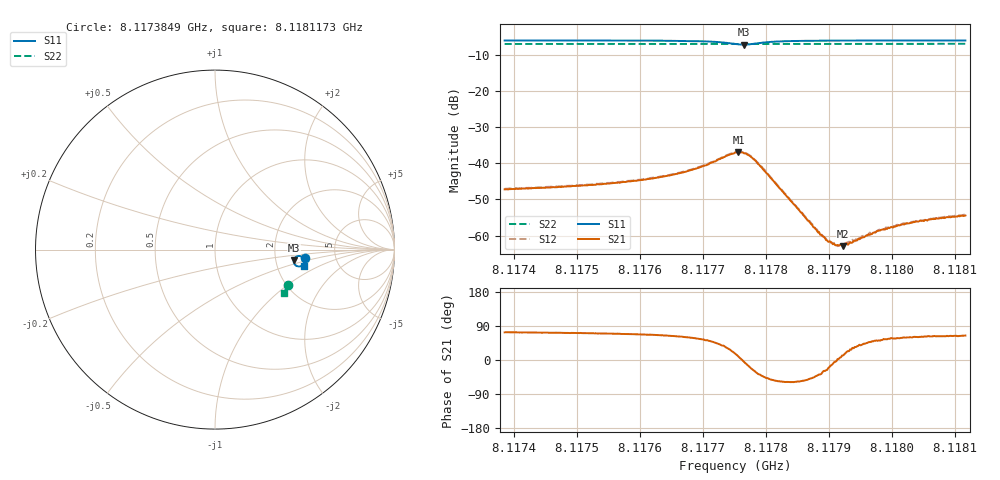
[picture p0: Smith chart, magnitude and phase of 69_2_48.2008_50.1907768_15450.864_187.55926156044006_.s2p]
#  HZ  S  RI  R  50.00
! Rohde & Schwarz Vector Network Analyzer
! Rohde-Schwarz,ZNB20-2Port,1311601062101988,3.16
! Created: UTC 3/20/2024, 11:39:06 AM
! freq[Hz]  re:S11  im:S11  re:S21  im:S21  re:S12  im:S12  re:S22  im:S22
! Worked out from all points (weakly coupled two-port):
!   401 points, 8.1173849 GHz to 8.1181173 GHz, reference 50 ohm
!   highest |S21| = -36.85 dB at 8.1177566 GHz (marker M1); lowest = -62.9 dB at 8.1179232 GHz (marker M2)
!   lowest |S11| = -7.1 dB at 8.1177657 GHz (marker M3), VSWR 2.59, Z = 126 - j18.7 ohm
!   |S11| at or under -10 dB: nowhere
!   |S22| runs from -6.9 to -6.9 dB; largest |S21 - S12| = 0.00045
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8.1173849e9  0.5034 -0.0477  0.00129 0.00418  0.00132 0.00424  0.4078 -0.1946
8.11750758e9  0.5013 -0.0593  0.00161 0.00466  0.00171 0.00472  0.4042 -0.2025
8.11757166e9  0.4996 -0.0664  0.00199 0.00512  0.00207 0.00521  0.4023 -0.2067
8.11763026e9  0.4964 -0.0746  0.00264 0.00584  0.00276 0.00592  0.4004 -0.2105
8.11768518e9  0.489 -0.0852  0.00441 0.007  0.00453 0.0071  0.3983 -0.2143
8.1177511e9  0.4446 -0.0832  0.0136 0.00408  0.0136 0.00404  0.3946 -0.2176
8.11775659e9  0.4402 -0.0755  0.0142 0.00224  0.0144 0.00223  0.3941 -0.2174
8.11776575e9  0.4386 -0.0597  0.0137 -0.0013  0.0141 -0.00147  0.394 -0.2172
8.11777674e9  0.4476 -0.0432  0.0114 -0.00462  0.0116 -0.00473  0.3945 -0.2174
8.11778955e9  0.4641 -0.0355  0.00752 -0.00588  0.00764 -0.00609  0.3949 -0.2179
8.11787378e9  0.4973 -0.0595  0.000948 -0.00104  0.000983 -0.00106  0.3934 -0.2245
8.1178866e9  0.4979 -0.0622  0.000812 -0.000632  0.000869 -0.000656  0.3929 -0.2254
8.11790124e9  0.4984 -0.0649  0.000788 -0.000265  0.000812 -0.000265  0.3926 -0.2264
8.11791406e9  0.4985 -0.0671  0.00074 3.06e-05  0.000713 3.02e-06  0.3922 -0.2271
8.11792322e9  0.4987 -0.0685  0.000703 0.000153  0.000775 0.000165  0.3918 -0.2277
8.1179342e9  0.4987 -0.0701  0.000716 0.000382  0.00072 0.000387  0.3916 -0.2285
8.11794336e9  0.4988 -0.0715  0.000704 0.000477  0.000737 0.000506  0.391 -0.229
8.11795617e9  0.4988 -0.0732  0.000691 0.000647  0.000746 0.000681  0.3906 -0.2298
8.11797998e9  0.4986 -0.076  0.000724 0.000918  0.000735 0.000949  0.3899 -0.2315
8.11799646e9  0.4984 -0.0779  0.000715 0.00105  0.000769 0.00107  0.3895 -0.2322
8.11804223e9  0.498 -0.0828  0.000771 0.00135  0.000814 0.00141  0.3878 -0.2353
8.1181173e9  0.497 -0.0899  0.000817 0.00171  0.000886 0.00176  0.3853 -0.2401
